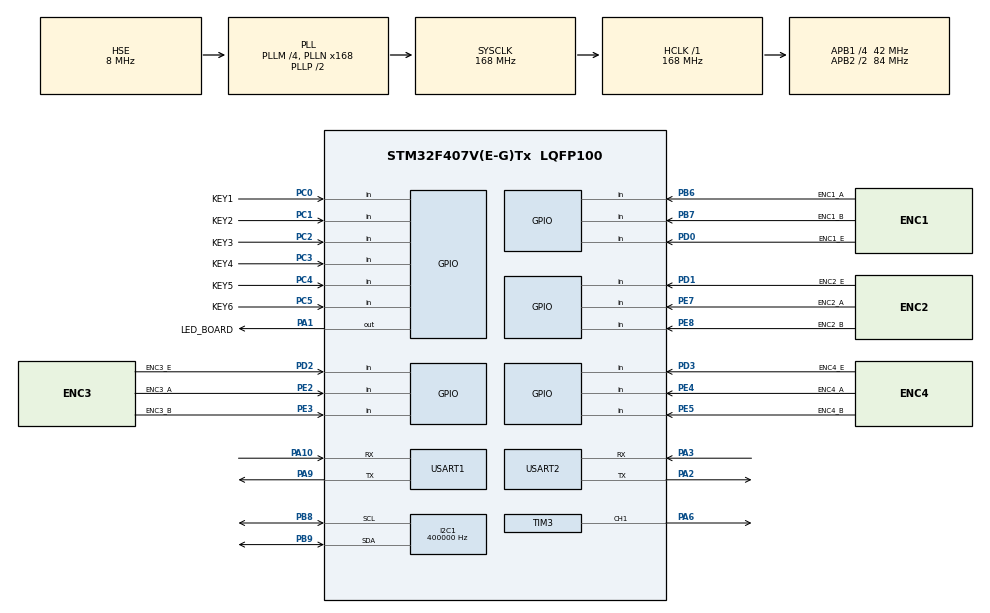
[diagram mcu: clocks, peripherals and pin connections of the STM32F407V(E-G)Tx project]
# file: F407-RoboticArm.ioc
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Dma.Request0=USART2_RX
Dma.Request1=USART1_RX
Dma.Request2=USART1_TX
Dma.USART1_RX.1.Direction=DMA_PERIPH_TO_MEMORY
Dma.USART1_RX.1.FIFOMode=DMA_FIFOMODE_DISABLE
Dma.USART1_RX.1.Instance=DMA2_Stream2
Dma.USART1_RX.1.MemDataAlignment=DMA_MDATAALIGN_BYTE
Dma.USART1_RX.1.MemInc=DMA_MINC_ENABLE
Dma.USART1_RX.1.Mode=DMA_CIRCULAR
Dma.USART1_RX.1.PeriphDataAlignment=DMA_PDATAALIGN_BYTE
Dma.USART1_RX.1.PeriphInc=DMA_PINC_DISABLE
Dma.USART1_RX.1.Priority=DMA_PRIORITY_HIGH
Dma.USART1_TX.2.Direction=DMA_MEMORY_TO_PERIPH
Dma.USART1_TX.2.FIFOMode=DMA_FIFOMODE_DISABLE
Dma.USART1_TX.2.Instance=DMA2_Stream7
Dma.USART1_TX.2.MemDataAlignment=DMA_MDATAALIGN_BYTE
Dma.USART1_TX.2.MemInc=DMA_MINC_ENABLE
Dma.USART1_TX.2.Mode=DMA_NORMAL
Dma.USART1_TX.2.PeriphDataAlignment=DMA_PDATAALIGN_BYTE
Dma.USART1_TX.2.PeriphInc=DMA_PINC_DISABLE
Dma.USART1_TX.2.Priority=DMA_PRIORITY_HIGH
Dma.USART2_RX.0.Direction=DMA_PERIPH_TO_MEMORY
Dma.USART2_RX.0.FIFOMode=DMA_FIFOMODE_DISABLE
Dma.USART2_RX.0.Instance=DMA1_Stream5
Dma.USART2_RX.0.MemDataAlignment=DMA_MDATAALIGN_BYTE
Dma.USART2_RX.0.MemInc=DMA_MINC_ENABLE
Dma.USART2_RX.0.Mode=DMA_CIRCULAR
Dma.USART2_RX.0.PeriphDataAlignment=DMA_PDATAALIGN_BYTE
Dma.USART2_RX.0.PeriphInc=DMA_PINC_DISABLE
Dma.USART2_RX.0.Priority=DMA_PRIORITY_HIGH
I2C1.ClockSpeed=400000
I2C1.DutyCycle=I2C_DUTYCYCLE_2
Mcu.Family=STM32F4
Mcu.Name=STM32F407V(E-G)Tx
Mcu.Package=LQFP100
NVIC.DMA1_Stream5_IRQn=true\:0\:0\:false\:false\:true\:false\:true\:true
NVIC.DMA2_Stream2_IRQn=true\:0\:0\:false\:false\:true\:false\:true\:true
NVIC.DMA2_Stream7_IRQn=true\:0\:0\:false\:false\:true\:false\:true\:true
NVIC.PriorityGroup=NVIC_PRIORITYGROUP_4
NVIC.TIM6_DAC_IRQn=true\:5\:0\:false\:false\:true\:false\:true\:true\:true
NVIC.USART1_IRQn=true\:0\:0\:false\:false\:true\:false\:true\:true
NVIC.USART2_IRQn=true\:0\:0\:false\:false\:true\:true\:true\:true
PA1.GPIO_Label=LED_BOARD
PA1.GPIO_Speed=GPIO_SPEED_FREQ_HIGH
PA1.Signal=GPIO_Output
PA6.Mode=PWM Generation CH1
PA6.Signal=TIM3_CH1
PA10.GPIO_PuPd=GPIO_PULLUP
PA10.Mode=Asynchronous
PA10.Signal=USART1_RX
PA13.Mode=Serial_Wire
PA13.Signal=SYS_JTMS-SWDIO
PA14.Mode=Serial_Wire
PA14.Signal=SYS_JTCK-SWCLK
PA2.GPIO_PuPd=GPIO_PULLUP
PA2.Mode=Asynchronous
PA2.Signal=USART2_TX
PA3.GPIO_PuPd=GPIO_NOPULL
PA3.Mode=Asynchronous
PA3.Signal=USART2_RX
PA9.GPIO_PuPd=GPIO_PULLUP
PA9.Mode=Asynchronous
PA9.Signal=USART1_TX
PB6.GPIO_Label=ENC1_A
PB6.GPIO_PuPd=GPIO_PULLUP
PB6.Signal=GPIO_Input
PB7.GPIO_Label=ENC1_B
PB7.GPIO_PuPd=GPIO_PULLUP
PB7.Signal=GPIO_Input
PB8.Mode=I2C
PB8.Signal=I2C1_SCL
PB9.Mode=I2C
PB9.Signal=I2C1_SDA
PC0.GPIO_Label=KEY1
PC0.GPIO_PuPd=GPIO_PULLUP
PC0.Signal=GPIO_Input
PC1.GPIO_Label=KEY2
PC1.GPIO_PuPd=GPIO_PULLUP
PC1.Signal=GPIO_Input
PC2.GPIO_Label=KEY3
PC2.GPIO_PuPd=GPIO_PULLUP
PC2.Signal=GPIO_Input
PC3.GPIO_Label=KEY4
PC3.GPIO_PuPd=GPIO_PULLUP
PC3.Signal=GPIO_Input
PC4.GPIO_Label=KEY5
PC4.GPIO_PuPd=GPIO_PULLUP
PC4.Signal=GPIO_Input
PC5.GPIO_Label=KEY6
PC5.GPIO_PuPd=GPIO_PULLUP
PC5.Signal=GPIO_Input
PC14-OSC32_IN.Mode=LSE-External-Oscillator
PC14-OSC32_IN.Signal=RCC_OSC32_IN
PC15-OSC32_OUT.Mode=LSE-External-Oscillator
PC15-OSC32_OUT.Signal=RCC_OSC32_OUT
PD0.GPIO_Label=ENC1_E
PD0.GPIO_PuPd=GPIO_PULLUP
PD0.Signal=GPIO_Input
PD1.GPIO_Label=ENC2_E
PD1.GPIO_PuPd=GPIO_PULLUP
PD1.Signal=GPIO_Input
PD2.GPIO_Label=ENC3_E
PD2.GPIO_PuPd=GPIO_PULLUP
PD2.Signal=GPIO_Input
PD3.GPIO_Label=ENC4_E
PD3.GPIO_PuPd=GPIO_PULLUP
PD3.Signal=GPIO_Input
PE2.GPIO_Label=ENC3_A
PE2.GPIO_PuPd=GPIO_PULLUP
PE2.Signal=GPIO_Input
PE3.GPIO_Label=ENC3_B
PE3.GPIO_PuPd=GPIO_PULLUP
PE3.Signal=GPIO_Input
PE4.GPIO_Label=ENC4_A
PE4.GPIO_PuPd=GPIO_PULLUP
PE4.Signal=GPIO_Input
PE5.GPIO_Label=ENC4_B
PE5.GPIO_PuPd=GPIO_PULLUP
PE5.Signal=GPIO_Input
PE7.GPIO_Label=ENC2_A
PE7.GPIO_PuPd=GPIO_PULLUP
PE7.Signal=GPIO_Input
PE8.GPIO_Label=ENC2_B
PE8.GPIO_PuPd=GPIO_PULLUP
PE8.Signal=GPIO_Input
PH0-OSC_IN.Mode=HSE-External-Oscillator
PH0-OSC_IN.Signal=RCC_OSC_IN
PH1-OSC_OUT.Mode=HSE-External-Oscillator
PH1-OSC_OUT.Signal=RCC_OSC_OUT
ProjectManager.HeapSize=0x200
ProjectManager.StackSize=0x400
ProjectManager.TargetToolchain=MDK-ARM V5.32
RCC.48MHZClocksFreq_Value=84000000
RCC.AHBFreq_Value=168000000
RCC.APB1CLKDivider=RCC_HCLK_DIV4
RCC.APB1Freq_Value=42000000
RCC.APB1TimFreq_Value=84000000
RCC.APB2CLKDivider=RCC_HCLK_DIV2
RCC.APB2Freq_Value=84000000
RCC.APB2TimFreq_Value=168000000
RCC.CortexFreq_Value=168000000
RCC.HCLKFreq_Value=168000000
RCC.HSE_VALUE=8000000
RCC.HSI_VALUE=16000000
RCC.PLLM=4
RCC.PLLN=168
RCC.PLLSourceVirtual=RCC_PLLSOURCE_HSE
RCC.SYSCLKFreq_VALUE=168000000
RCC.SYSCLKSource=RCC_SYSCLKSOURCE_PLLCLK
RCC.VCOOutputFreq_Value=336000000
TIM6.Period=9
TIM6.Prescaler=8399
USART1.VirtualMode=VM_ASYNC
USART2.VirtualMode=VM_ASYNC
board=custom

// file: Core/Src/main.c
/* USER CODE BEGIN Header */
/**
  ******************************************************************************
  * @file           : main.c
  * @brief          : Main program body
  ******************************************************************************
  * @attention
  *
  * Copyright (c) 2026 STMicroelectronics.
  * All rights reserved.
  *
  * This software is licensed under terms that can be found in the LICENSE file
  * in the root directory of this software component.
  * If no LICENSE file comes with this software, it is provided AS-IS.
  *
  ******************************************************************************
  */
/* USER CODE END Header */
#include "main.h"
#include "dma.h"
#include "i2c.h"
#include "tim.h"
#include "usart.h"
#include "gpio.h"

/* USER CODE BEGIN Includes */
#include "ArmControl.h"
#include "HostProtocol.h"
#include "Encoder.h"
#include "Key.h"
#include "MotorBus.h"
#include "OLED.h"
#include "Servo.h"

/* USER CODE END Includes */

/* USER CODE BEGIN PD */
/*
 * ===================== 硬件接线与地址设置说明 =====================
 *
 * 1. MaixCAM 接 USART2，115200，8N1：
 *    MaixCAM TX  -> F407 PA3 / USART2_RX
 *    MaixCAM RX  -> F407 PA2 / USART2_TX，可选，当前程序只需要 STM32 接收坐标
 *    MaixCAM GND -> F407 GND，必须共地
 *
 * 2. 四台张大头闭环步进电机接 USART1，115200，8N1：
 *    地址 1/2/3/4 分别对应丝杆/底座/大臂/小臂。
 *    F407 PA9/PA10 按驱动器手册要求接 TTL 或 RS485 物理层，必须共地。
 *    普通推挽 TTL TX 不能直接把多个驱动器 TX 并联；若模块不是可靠的
 *    多机 TTL 总线版本，应在此处增加 RS485 收发器或拆分总线。
 *    电机电源单独接驱动器电源输入，不要从开发板 5V/3V3 给电机供电。
 *
 * 3. 电机地址：
 *    四个地址必须预先设置为 1、2、3、4，并逐台确认波特率为 115200。
 *    新电机通常默认都是地址 1，改地址时只接一台电机。
 *    例如只接某台电机时，可以临时调用：
 *    Emm_V5_Modify_Motor_ID(1, true, 2);
 *    保存后断电重启，再把两台电机一起并联到 USART1。
 *
 * 4. 不要同时开启两台电机的自动返回/到位返回，TTL 总线上多个电机同时回包会冲突。
 */

/* USER CODE END PD */

void SystemClock_Config(void);

int main(void)
{

  /* MCU Configuration--------------------------------------------------------*/

  /* Reset of all peripherals, Initializes the Flash interface and the Systick. */
  HAL_Init();

  /* Configure the system clock */
  SystemClock_Config();

  /* Initialize all configured peripherals */
  MX_GPIO_Init();
  MX_DMA_Init();
  MX_USART1_UART_Init();
  MX_USART2_UART_Init();
  MX_I2C1_Init();
  MX_TIM6_Init();
  MX_TIM3_Init();
  /* USER CODE BEGIN 2 */
  /*
   * 输入驱动只负责采样、消抖和事件排队；业务动作在主循环 ArmControl 中执行。
   * 先初始化输入状态，可避免上电时把当前 GPIO 电平误判为一次旋转或按键事件。
   */
  Encoder_Init();
  Key_Init();

  /* MotorBus_Init 会把四个轴置为停止态，并排队发送四轴失能命令。 */
  MotorBus_Init();
  HostProtocol_Init();
  OLED_Init();
  ArmControl_Init();
  Servo_Init();
  if (HAL_TIM_Base_Start_IT(&htim6) != HAL_OK) {
    Error_Handler();
  }

  /* USER CODE END 2 */

  /* Infinite loop */
  while (1)
  {

    /* USER CODE BEGIN 3 */
    ArmControl_Process();
    HostProtocol_Process();
    MotorBus_Process();
    OLED_Process();
  }
  /* USER CODE END 3 */
}

void SystemClock_Config(void)
{
  RCC_OscInitTypeDef RCC_OscInitStruct = {0};
  RCC_ClkInitTypeDef RCC_ClkInitStruct = {0};

  /** Configure the main internal regulator output voltage
  */
  __HAL_RCC_PWR_CLK_ENABLE();
  __HAL_PWR_VOLTAGESCALING_CONFIG(PWR_REGULATOR_VOLTAGE_SCALE1);

  /** Initializes the RCC Oscillators according to the specified parameters
  * in the RCC_OscInitTypeDef structure.
  */
  RCC_OscInitStruct.OscillatorType = RCC_OSCILLATORTYPE_HSE;
  RCC_OscInitStruct.HSEState = RCC_HSE_ON;
  RCC_OscInitStruct.PLL.PLLState = RCC_PLL_ON;
  RCC_OscInitStruct.PLL.PLLSource = RCC_PLLSOURCE_HSE;
  RCC_OscInitStruct.PLL.PLLM = 4;
  RCC_OscInitStruct.PLL.PLLN = 168;
  RCC_OscInitStruct.PLL.PLLP = RCC_PLLP_DIV2;
  RCC_OscInitStruct.PLL.PLLQ = 4;
  if (HAL_RCC_OscConfig(&RCC_OscInitStruct) != HAL_OK)
  {
    Error_Handler();
  }

  /** Initializes the CPU, AHB and APB buses clocks
  */
  RCC_ClkInitStruct.ClockType = RCC_CLOCKTYPE_HCLK|RCC_CLOCKTYPE_SYSCLK
                              |RCC_CLOCKTYPE_PCLK1|RCC_CLOCKTYPE_PCLK2;
  RCC_ClkInitStruct.SYSCLKSource = RCC_SYSCLKSOURCE_PLLCLK;
  RCC_ClkInitStruct.AHBCLKDivider = RCC_SYSCLK_DIV1;
  RCC_ClkInitStruct.APB1CLKDivider = RCC_HCLK_DIV4;
  RCC_ClkInitStruct.APB2CLKDivider = RCC_HCLK_DIV2;

  if (HAL_RCC_ClockConfig(&RCC_ClkInitStruct, FLASH_LATENCY_5) != HAL_OK)
  {
    Error_Handler();
  }
}

/* USER CODE BEGIN 4 */

void HAL_TIM_PeriodElapsedCallback(TIM_HandleTypeDef *htim)
{
  if (htim->Instance == TIM6) {
    /*
     * TIM6 约 1 kHz：这里只做 GPIO 采样和事件入队。
     * 不在中断里发串口、不刷新 OLED，也不执行菜单业务，保证中断短小稳定。
     */
    Encoder_Scan1ms();
    Key_Scan1ms();
  }
}

/* USER CODE END 4 */

void Error_Handler(void)
{
  __disable_irq();
  while (1)
  {
  }
}
